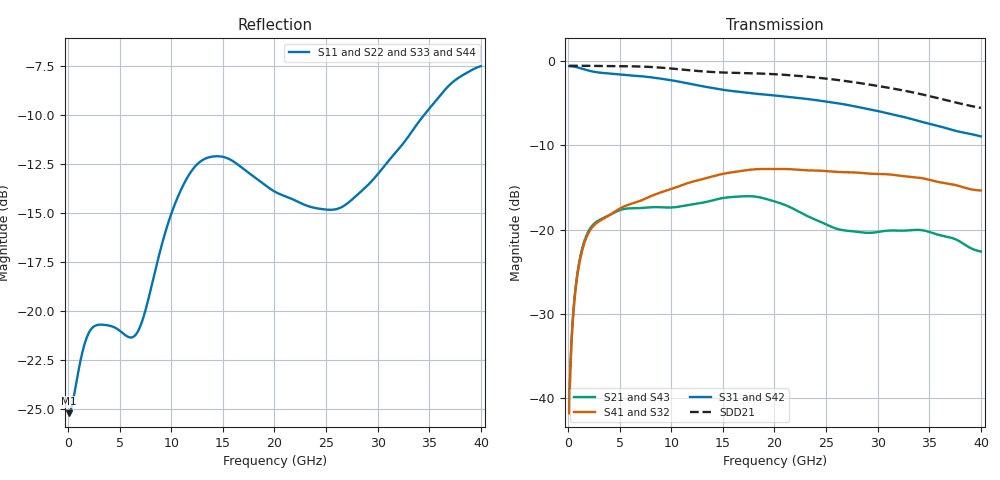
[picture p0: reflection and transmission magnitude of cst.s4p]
! E_s8_L1L8_p1000_round_g0: pair L1→L8, pitch 1 mm, two round antipads, 0 GND vias
! stackup: 8-layer 1.6 mm FR-4 (generic)
! ports: 1 P near, 2 N near, 3 P far, 4 N far
! CST Studio Suite 2025.5 Release from 2025-05-30, time domain (FIT, hexahedral, PBA), 134784 mesh cells, 42 s
! mesh: {'lpw': 20, 'lpb': 20, 'minstep': 0.0, 'ratio': 20}; ports: port 1 (face); port 2 (face); port 3 (face); port 4 (face)
! interpolated from CST's 1001 samples to the case grid
# Hz S RI R 50
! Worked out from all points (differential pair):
!   400 points, 100 MHz to 40 GHz, reference 50 ohm
!   strongest paths, dB at 100 MHz, 10.1 GHz, 20.1 GHz, 30.1 GHz, 40 GHz:
!     S31: -0.6, -2.3, -4.1, -5.9, -8.9
!     S42: -0.6, -2.3, -4.1, -5.9, -8.9
!     S41: -41.8, -15.1, -12.8, -13.4, -15.4
!     S32: -41.8, -15.1, -12.8, -13.4, -15.4
!     S21: -41.4, -17.4, -16.7, -20.3, -22.6
!     S43: -41.4, -17.4, -16.7, -20.3, -22.6
!   taken as a pair (ports 1,2 in; 3,4 out), SDD21 dB: -0.5, -0.9, -1.6, -3.0, -5.6
!   lowest |S11| = -25.2 dB at 100 MHz (marker M1), VSWR 1.12, Z = 44.9 + j0.812 ohm
!   |S11| at or under -10 dB: start of sweep to 34.47 GHz
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1e8  -0.0542 0.00902  0.00603 0.00601  0.9334 -0.0408  -0.00563 -0.00582
     0.00603 0.00601  -0.0542 0.00902  -0.00563 -0.00582  0.9334 -0.0408
     0.9334 -0.0408  -0.00563 -0.00582  -0.0542 0.00902  0.00603 0.00601
     -0.00563 -0.00582  0.9334 -0.0408  0.00603 0.00601  -0.0542 0.00902
1.7e9  0.0451 0.0711  0.085 0.0288  0.674 -0.5809  -0.0833 -0.0263
       0.085 0.0288  0.0451 0.0711  -0.0833 -0.0263  0.674 -0.5809
       0.674 -0.5809  -0.0833 -0.0263  0.0451 0.0711  0.085 0.0288
       -0.0833 -0.0263  0.674 -0.5809  0.085 0.0288  0.0451 0.0711
7.7e9  -0.105 0.00888  -0.0838 -0.106  -0.7972 -0.1254  0.0952 0.122
       -0.0838 -0.106  -0.105 0.00888  0.0952 0.122  -0.7972 -0.1254
       -0.7972 -0.1254  0.0952 0.122  -0.105 0.00888  -0.0838 -0.106
       0.0952 0.122  -0.7972 -0.1254  -0.0838 -0.106  -0.105 0.00888
1.62e10  0.2169 -0.1015  0.1044 0.1167  0.6559 0.0879  -0.1632 -0.1479
         0.1044 0.1167  0.2169 -0.1015  -0.1632 -0.1479  0.6559 0.0879
         0.6559 0.0879  -0.1632 -0.1479  0.2169 -0.1015  0.1044 0.1167
         -0.1632 -0.1479  0.6559 0.0879  0.1044 0.1167  0.2169 -0.1015
2.45e10  -0.1729 -0.0583  -0.0784 -0.0783  -0.5685 -0.1225  0.187 0.1225
         -0.0784 -0.0783  -0.1729 -0.0583  0.187 0.1225  -0.5685 -0.1225
         -0.5685 -0.1225  0.187 0.1225  -0.173 -0.0583  -0.0784 -0.0783
         0.187 0.1225  -0.5685 -0.1225  -0.0784 -0.0783  -0.173 -0.0583
3.29e10  0.2353 0.1471  0.0862 0.0483  0.4491 0.1001  -0.1849 -0.0915
         0.0862 0.0483  0.2353 0.1471  -0.1849 -0.0915  0.4491 0.1001
         0.4491 0.1001  -0.1849 -0.0915  0.2354 0.1471  0.0862 0.0483
         -0.1849 -0.0915  0.4491 0.1001  0.0862 0.0483  0.2353 0.1471
4e10  0.1258 -0.403  -0.0565 -0.0478  -0.2471 -0.2586  0.1077 0.1322
      -0.0565 -0.0478  0.1258 -0.403  0.1077 0.1322  -0.2471 -0.2586
      -0.2471 -0.2586  0.1077 0.1322  0.1257 -0.4031  -0.0565 -0.0478
      0.1077 0.1322  -0.2471 -0.2586  -0.0565 -0.0478  0.1258 -0.4031
